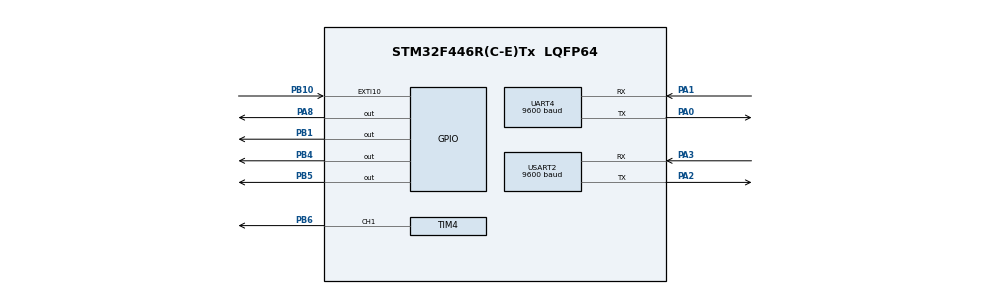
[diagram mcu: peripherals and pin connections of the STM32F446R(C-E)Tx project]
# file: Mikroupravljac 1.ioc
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Mcu.Family=STM32F4
Mcu.Name=STM32F446R(C-E)Tx
Mcu.Package=LQFP64
NVIC.EXTI15_10_IRQn=true\:3\:0\:true\:false\:true\:true\:true\:true
NVIC.PriorityGroup=NVIC_PRIORITYGROUP_4
PA0-WKUP.Mode=Asynchronous
PA0-WKUP.Signal=UART4_TX
PA1.Mode=Asynchronous
PA1.Signal=UART4_RX
PA13.Mode=Serial_Wire
PA13.Signal=SYS_JTMS-SWDIO
PA14.Mode=Serial_Wire
PA14.Signal=SYS_JTCK-SWCLK
PA2.Mode=Asynchronous
PA2.Signal=USART2_TX
PA3.Mode=Asynchronous
PA3.Signal=USART2_RX
PA8.Signal=GPIO_Output
PB1.Signal=GPIO_Output
PB10.GPIO_ModeDefaultEXTI=GPIO_MODE_IT_FALLING
PB10.GPIO_PuPd=GPIO_PULLUP
PB10.Signal=GPXTI10
PB4.Signal=GPIO_Output
PB5.Signal=GPIO_Output
PB6.Signal=S_TIM4_CH1
ProjectManager.HeapSize=0x200
ProjectManager.StackSize=0x400
ProjectManager.TargetToolchain=STM32CubeIDE
RCC.CortexFreq_Value=16000000
RCC.USBFreq_Value=96000000
RCC.VCOOutputFreq_Value=192000000
SH.S_TIM4_CH1.0=TIM4_CH1,PWM Generation1 CH1
TIM4.Channel-PWM\ Generation1\ CH1=TIM_CHANNEL_1
TIM4.Period=999
TIM4.Prescaler=15999
TIM4.Pulse-PWM\ Generation1\ CH1=500
TIM6.Period=29999
TIM6.Prescaler=15999
UART4.BaudRate=9600
UART4.VirtualMode=Asynchronous
USART2.BaudRate=9600
USART2.VirtualMode=VM_ASYNC
VP_TIM6_VS_ClockSourceINT.Mode=Enable_Timer
board=custom

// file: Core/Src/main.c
/* USER CODE BEGIN Header */
/**
  ******************************************************************************
  * @file           : main.c
  * @brief          : Main program body
  ******************************************************************************
  * @attention
  *
  * Copyright (c) 2025 STMicroelectronics.
  * All rights reserved.
  *
  * This software is licensed under terms that can be found in the LICENSE file
  * in the root directory of this software component.
  * If no LICENSE file comes with this software, it is provided AS-IS.
  *
  ******************************************************************************
  */
/* USER CODE END Header */
#include "main.h"
#include "tim.h"
#include "usart.h"
#include "gpio.h"

/* USER CODE BEGIN PD */
int status = 0;
/* USER CODE END PD */

void SystemClock_Config(void);

int main(void)
{

  /* MCU Configuration--------------------------------------------------------*/

  /* Reset of all peripherals, Initializes the Flash interface and the Systick. */
  HAL_Init();

  /* Configure the system clock */
  SystemClock_Config();

  /* Initialize all configured peripherals */
  MX_GPIO_Init();
  MX_TIM4_Init();
  MX_TIM6_Init();
  MX_UART4_Init();
  MX_USART2_UART_Init();
  /* USER CODE BEGIN 2 */
  uint8_t msgt = 0x0, msgr = 0x0;
  int i=0;
  HAL_TIM_PWM_Start(&htim4, TIM_CHANNEL_1);
  HAL_TIM_Base_Start(&htim6);
  /* USER CODE END 2 */

  /* Infinite loop */
  /* USER CODE BEGIN WHILE */
  while (1)
  {
	  switch(status) {
	  	  case 0:	//Slucaj greske, titrajuce zuto
	  		  if(i==0){		//uvjet da se ne vrti case 0 u krug

	  		  __HAL_TIM_SET_COMPARE(&htim4, TIM_CHANNEL_1, 1500);
	  			  HAL_TIM_PWM_Start(&htim4, TIM_CHANNEL_1);
	  			  HAL_GPIO_WritePin(GPIOA, GPIO_PIN_8, 0);	//gasenje svega osim zutog
	  			  HAL_GPIO_WritePin(GPIOB, GPIO_PIN_1|GPIO_PIN_4|GPIO_PIN_5, 0);	//^
	  			  __HAL_TIM_SET_COUNTER(&htim6, 0);		//timer reset, 18s do sljedeceg ponvaljanja case 0
	  			  i++;
	  			HAL_Delay(3000);
	  		  }

			  break;

		  case 1:	//Zeleno za aute
			  HAL_TIM_PWM_Stop(&htim4, TIM_CHANNEL_1);
			  HAL_GPIO_WritePin(GPIOA, GPIO_PIN_8, 1);	//zeleno za aute
			  HAL_GPIO_WritePin(GPIOB, GPIO_PIN_5, 1);	//crveno za pješake
			  HAL_GPIO_WritePin(GPIOB, GPIO_PIN_1|GPIO_PIN_4, 0);
			  break;

		  case 2:	//Zeleno za pjesake
			  msgt = 0x6;
			  HAL_UART_Transmit(&huart4, &msgt, sizeof(msgt), 100);
			  HAL_Delay(20);
			  HAL_UART_Receive(&huart4, &msgr, sizeof(msgr), 1000);
			  if(msgr == msgt){
				  msgt = 0x0;
				  HAL_TIM_PWM_Stop(&htim4, TIM_CHANNEL_1);
				  __HAL_TIM_SET_COMPARE(&htim4, TIM_CHANNEL_1, 3000);
				  HAL_TIM_PWM_Start(&htim4, TIM_CHANNEL_1);		//upaljeno zuto 3s prije promjene na crveno
				  HAL_GPIO_WritePin(GPIOA, GPIO_PIN_8, 0);		//gasi zeleno za aute
				  HAL_Delay(3000);
				  HAL_GPIO_WritePin(GPIOB, GPIO_PIN_5, 0);		//gasi crveno za pjesake
				  HAL_GPIO_WritePin(GPIOB, GPIO_PIN_1|GPIO_PIN_4, 1);	//zeleno pjesaci i crveno auti
				  HAL_TIM_PWM_Stop(&htim4, TIM_CHANNEL_1);
				  HAL_Delay(20000);		//20s za prijelaz pjesaka
				  HAL_TIM_PWM_Start(&htim4, TIM_CHANNEL_1);
				  HAL_GPIO_WritePin(GPIOB, GPIO_PIN_1, 0);	//gasimo zeleno pjesake
				  HAL_GPIO_WritePin(GPIOB, GPIO_PIN_5, 1);	//crveno za pjesake
				  HAL_Delay(3000);		//3s zutog prije promjene
				  HAL_TIM_PWM_Stop(&htim4, TIM_CHANNEL_1);
				  __HAL_TIM_SET_COMPARE(&htim4, TIM_CHANNEL_1, 1500);	//Vracanje PWM Duty cyclea za titranje
				  HAL_GPIO_WritePin(GPIOA, GPIO_PIN_8, 1);	//zeleno za aute
				  HAL_GPIO_WritePin(GPIOB, GPIO_PIN_1|GPIO_PIN_4, 0);
				  status = 1;
				  break;
			  }else{
				  status = 0;
				  break;
			  }
	  }
	  msgt = 0x1;
	  msgr = 0x0;
	  HAL_UART_Transmit(&huart4, &msgt, sizeof(msgt), 1000);	//provjera komunikcaije
	  //HAL_Delay(20);
	  HAL_UART_Receive(&huart4, &msgr, sizeof(msgr), 100);
	 // HAL_Delay(20);
	  if(status != 2){
		  if(msgr == msgt){
			  status = 1;
		  }else{
			  status = 0;
			  HAL_TIM_Base_Start(&htim6);
			  msgt = 0x0;
			  HAL_UART_Transmit(&huart4, &msgt, sizeof(msgt), 100);
		  }
	  }
	  if(__HAL_TIM_GetCounter(&htim6) >= 9000){
		  i=0;
	  }

    /* USER CODE END WHILE */

  }
}

void SystemClock_Config(void)
{
  RCC_OscInitTypeDef RCC_OscInitStruct = {0};
  RCC_ClkInitTypeDef RCC_ClkInitStruct = {0};

  /** Configure the main internal regulator output voltage
  */
  __HAL_RCC_PWR_CLK_ENABLE();
  __HAL_PWR_VOLTAGESCALING_CONFIG(PWR_REGULATOR_VOLTAGE_SCALE3);

  /** Initializes the RCC Oscillators according to the specified parameters
  * in the RCC_OscInitTypeDef structure.
  */
  RCC_OscInitStruct.OscillatorType = RCC_OSCILLATORTYPE_HSI;
  RCC_OscInitStruct.HSIState = RCC_HSI_ON;
  RCC_OscInitStruct.HSICalibrationValue = RCC_HSICALIBRATION_DEFAULT;
  RCC_OscInitStruct.PLL.PLLState = RCC_PLL_NONE;
  if (HAL_RCC_OscConfig(&RCC_OscInitStruct) != HAL_OK)
  {
    Error_Handler();
  }

  /** Initializes the CPU, AHB and APB buses clocks
  */
  RCC_ClkInitStruct.ClockType = RCC_CLOCKTYPE_HCLK|RCC_CLOCKTYPE_SYSCLK
                              |RCC_CLOCKTYPE_PCLK1|RCC_CLOCKTYPE_PCLK2;
  RCC_ClkInitStruct.SYSCLKSource = RCC_SYSCLKSOURCE_HSI;
  RCC_ClkInitStruct.AHBCLKDivider = RCC_SYSCLK_DIV1;
  RCC_ClkInitStruct.APB1CLKDivider = RCC_HCLK_DIV1;
  RCC_ClkInitStruct.APB2CLKDivider = RCC_HCLK_DIV1;

  if (HAL_RCC_ClockConfig(&RCC_ClkInitStruct, FLASH_LATENCY_0) != HAL_OK)
  {
    Error_Handler();
  }
}

/* USER CODE BEGIN 4 */
void HAL_GPIO_EXTI_Callback(uint16_t GPIO_Pin)
	{
		/* Prevent unused argument(s) compilation warning */

		if(GPIO_Pin == GPIO_PIN_10 || GPIO_Pin == GPIO_PIN_12){
			status = 2;
		}

}
/* USER CODE END 4 */

void Error_Handler(void)
{
  __disable_irq();
  while (1)
  {
  }
}
